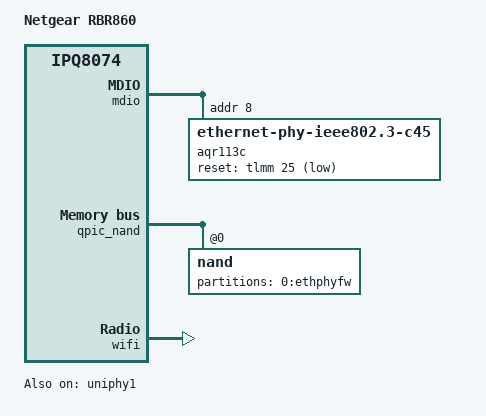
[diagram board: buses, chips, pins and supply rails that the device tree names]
// SPDX-License-Identifier: GPL-2.0-or-later OR MIT
/*
 * Copyright (c) 2026 Maximilian Brandt <me@brandtm.de>
 */

/dts-v1/;

#include "ipq8074-rbx860.dtsi"

/ {
	model = "Netgear RBR860";
	compatible = "netgear,rbr860", "qcom,ipq8074";
};

&uniphy1 {
	status = "okay";
};

&swports {
	swport5: port@5 {
		reg = <5>;
		label = "wan";
		phy-handle = <&aqr113c>;
		phy-mode = "usxgmii";
		managed = "in-band-status";
		pcs-handle = <&uniphy1 0>;
		nvmem-cells = <&macaddr_boarddata 1>;
		nvmem-cell-names = "mac-address";
	};
};

&mdio {
	aqr113c: ethernet-phy@8 {
		compatible = "ethernet-phy-ieee802.3-c45";
		reg = <8>;
		reset-gpios = <&tlmm 25 GPIO_ACTIVE_LOW>;
		reset-assert-us = <1000000>;
		reset-deassert-us = <1000000>;
		nvmem-cells = <&aqr_fw>;
		nvmem-cell-names = "firmware";
	};
};

&qpic_nand {
	nand@0 {
		partitions {
			/*
			 * Empty from the factory, the stock firmware loads the
			 * PHY firmware from its rootfs. The firmware has to be
			 * written here once, see the commit message.
			 */
			partition-0-ethphyfw {
				label = "0:ethphyfw";

				nvmem-layout {
					compatible = "fixed-layout";
					#address-cells = <1>;
					#size-cells = <1>;

					aqr_fw: firmware@0 {
						reg = <0x0 0x60002>;
					};
				};
			};
		};
	};
};

&wifi {
	qcom,calibration-variant = "Netgear-RBR860";
};
